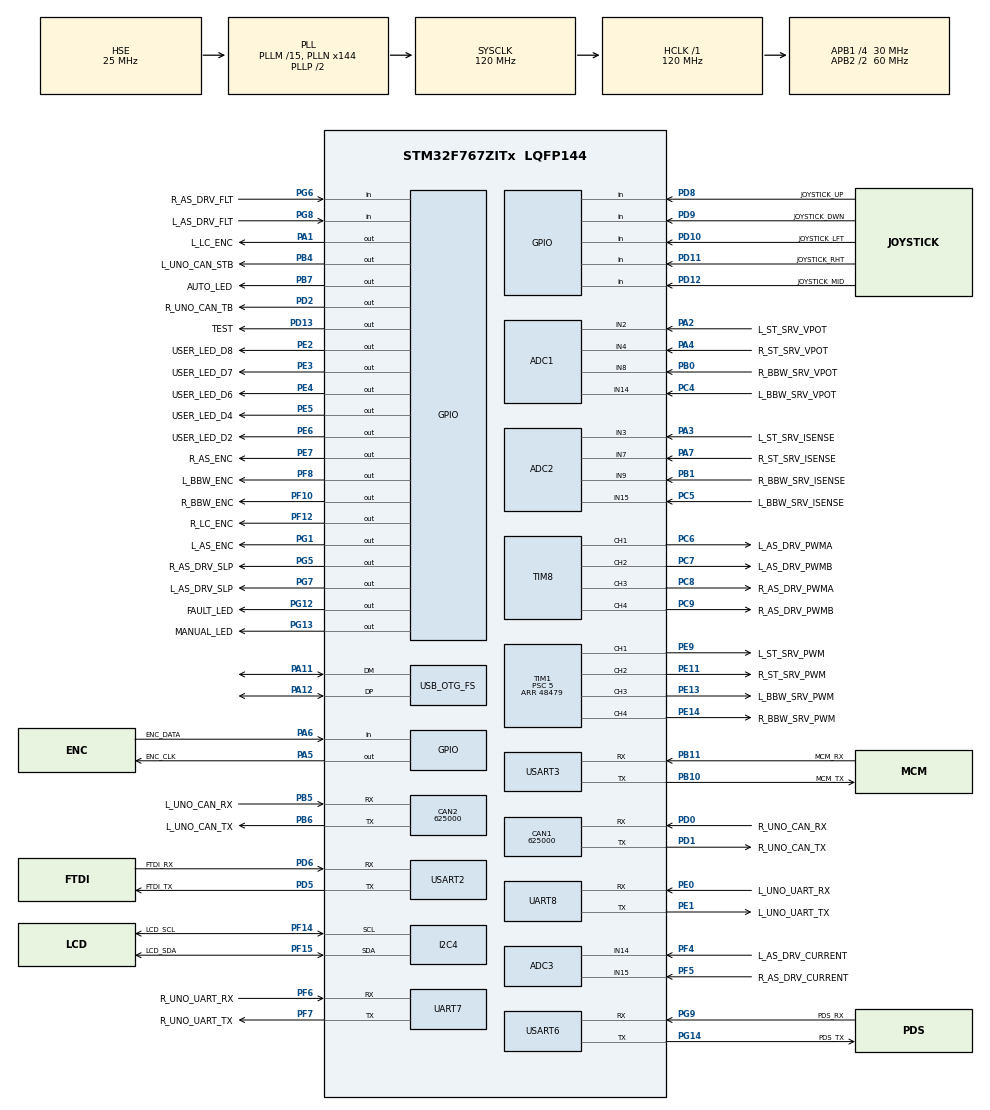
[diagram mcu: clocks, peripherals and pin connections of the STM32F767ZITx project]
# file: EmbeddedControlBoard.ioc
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ADC1.Channel-0\#ChannelRegularConversion=ADC_CHANNEL_2
ADC1.ClockPrescaler=ADC_CLOCK_SYNC_PCLK_DIV6
ADC1.ContinuousConvMode=DISABLE
ADC1.DMAContinuousRequests=DISABLE
ADC1.EOCSelection=ADC_EOC_SEQ_CONV
ADC1.NbrOfConversion=1
ADC1.NbrOfConversionFlag=1
ADC1.Rank-0\#ChannelRegularConversion=1
ADC1.SamplingTime-0\#ChannelRegularConversion=ADC_SAMPLETIME_28CYCLES
ADC1.ScanConvMode=ADC_SCAN_DISABLE
ADC1.master=1
ADC2.Channel-0\#ChannelRegularConversion=ADC_CHANNEL_3
ADC2.ClockPrescaler=ADC_CLOCK_SYNC_PCLK_DIV6
ADC2.ContinuousConvMode=DISABLE
ADC2.DMAContinuousRequests=DISABLE
ADC2.EOCSelection=ADC_EOC_SEQ_CONV
ADC2.NbrOfConversion=1
ADC2.NbrOfConversionFlag=1
ADC2.Rank-0\#ChannelRegularConversion=1
ADC2.SamplingTime-0\#ChannelRegularConversion=ADC_SAMPLETIME_84CYCLES
ADC2.ScanConvMode=ADC_SCAN_DISABLE
ADC3.Channel-0\#ChannelRegularConversion=ADC_CHANNEL_14
ADC3.ClockPrescaler=ADC_CLOCK_SYNC_PCLK_DIV6
ADC3.NbrOfConversionFlag=1
ADC3.Rank-0\#ChannelRegularConversion=1
ADC3.SamplingTime-0\#ChannelRegularConversion=ADC_SAMPLETIME_3CYCLES
CAN1.BS1=CAN_BS1_1TQ
CAN1.BS2=CAN_BS2_1TQ
CAN1.CalculateBaudRate=625000
CAN1.CalculateTimeBit=1600
CAN1.CalculateTimeQuantum=533.3333333333334
CAN2.BS1=CAN_BS1_1TQ
CAN2.BS2=CAN_BS2_1TQ
CAN2.CalculateBaudRate=625000
CAN2.CalculateTimeBit=1600
CAN2.CalculateTimeQuantum=533.3333333333334
CORTEX_M7.default_mode_Activation=1
Dma.ADC1.0.Direction=DMA_PERIPH_TO_MEMORY
Dma.ADC1.0.FIFOMode=DMA_FIFOMODE_DISABLE
Dma.ADC1.0.Instance=DMA2_Stream0
Dma.ADC1.0.MemDataAlignment=DMA_MDATAALIGN_WORD
Dma.ADC1.0.MemInc=DMA_MINC_ENABLE
Dma.ADC1.0.Mode=DMA_NORMAL
Dma.ADC1.0.PeriphDataAlignment=DMA_PDATAALIGN_WORD
Dma.ADC1.0.PeriphInc=DMA_PINC_DISABLE
Dma.ADC1.0.Priority=DMA_PRIORITY_MEDIUM
Dma.ADC2.1.Direction=DMA_PERIPH_TO_MEMORY
Dma.ADC2.1.FIFOMode=DMA_FIFOMODE_DISABLE
Dma.ADC2.1.Instance=DMA2_Stream2
Dma.ADC2.1.MemDataAlignment=DMA_MDATAALIGN_WORD
Dma.ADC2.1.MemInc=DMA_MINC_ENABLE
Dma.ADC2.1.Mode=DMA_NORMAL
Dma.ADC2.1.PeriphDataAlignment=DMA_PDATAALIGN_WORD
Dma.ADC2.1.PeriphInc=DMA_PINC_DISABLE
Dma.ADC2.1.Priority=DMA_PRIORITY_HIGH
Dma.Request0=ADC1
Dma.Request1=ADC2
I2C4.Timing=0x007074AF
Mcu.Family=STM32F7
Mcu.Name=STM32F767ZITx
Mcu.Package=LQFP144
NVIC.DMA2_Stream0_IRQn=true\:0\:0\:false\:false\:true\:false\:true\:true
NVIC.DMA2_Stream2_IRQn=true\:0\:0\:false\:false\:true\:false\:true\:true
NVIC.I2C4_ER_IRQn=true\:0\:0\:false\:false\:true\:true\:true\:true
NVIC.I2C4_EV_IRQn=true\:0\:0\:false\:false\:true\:true\:true\:true
NVIC.OTG_FS_IRQn=true\:0\:0\:false\:false\:true\:false\:true\:true
NVIC.PriorityGroup=NVIC_PRIORITYGROUP_4
NVIC.UART7_IRQn=true\:0\:0\:false\:false\:true\:true\:true\:true
NVIC.UART8_IRQn=true\:0\:0\:false\:false\:true\:true\:true\:true
NVIC.USART2_IRQn=true\:0\:0\:false\:false\:true\:true\:true\:true
NVIC.USART3_IRQn=true\:0\:0\:false\:false\:true\:true\:true\:true
NVIC.USART6_IRQn=true\:0\:0\:false\:false\:true\:true\:true\:true
PA1.GPIO_Label=L_LC_ENC
PA1.Signal=GPIO_Output
PA11.Mode=Device_Only
PA11.Signal=USB_OTG_FS_DM
PA12.Mode=Device_Only
PA12.Signal=USB_OTG_FS_DP
PA13.Mode=Serial_Wire
PA13.Signal=SYS_JTMS-SWDIO
PA14.Mode=Serial_Wire
PA14.Signal=SYS_JTCK-SWCLK
PA2.GPIO_Label=L_ST_SRV_VPOT
PA2.Signal=ADCx_IN2
PA3.GPIO_Label=L_ST_SRV_ISENSE
PA3.Signal=ADCx_IN3
PA4.GPIO_Label=R_ST_SRV_VPOT
PA4.Signal=ADCx_IN4
PA5.GPIO_Label=ENC_CLK
PA5.Signal=GPIO_Output
PA6.GPIO_Label=ENC_DATA
PA6.GPIO_PuPd=GPIO_NOPULL
PA6.Signal=GPIO_Input
PA7.GPIO_Label=R_ST_SRV_ISENSE
PA7.Signal=ADCx_IN7
PB0.GPIO_Label=R_BBW_SRV_VPOT
PB0.Signal=ADCx_IN8
PB1.GPIO_Label=R_BBW_SRV_ISENSE
PB1.Signal=ADCx_IN9
PB10.GPIO_Label=MCM_TX
PB10.Mode=Asynchronous
PB10.Signal=USART3_TX
PB11.GPIO_Label=MCM_RX
PB11.Mode=Asynchronous
PB11.Signal=USART3_RX
PB4.GPIO_Label=L_UNO_CAN_STB
PB4.Signal=GPIO_Output
PB5.GPIO_Label=L_UNO_CAN_RX
PB5.Mode=CAN_Activate
PB5.Signal=CAN2_RX
PB6.GPIO_Label=L_UNO_CAN_TX
PB6.Mode=CAN_Activate
PB6.Signal=CAN2_TX
PB7.GPIO_Label=AUTO_LED
PB7.Signal=GPIO_Output
PC4.GPIO_Label=L_BBW_SRV_VPOT
PC4.Signal=ADCx_IN14
PC5.GPIO_Label=L_BBW_SRV_ISENSE
PC5.Signal=ADCx_IN15
PC6.GPIO_Label=L_AS_DRV_PWMA
PC6.Signal=S_TIM8_CH1
PC7.GPIO_Label=L_AS_DRV_PWMB
PC7.Signal=S_TIM8_CH2
PC8.GPIO_Label=R_AS_DRV_PWMA
PC8.Signal=S_TIM8_CH3
PC9.GPIO_Label=R_AS_DRV_PWMB
PC9.Signal=S_TIM8_CH4
PD0.GPIO_Label=R_UNO_CAN_RX
PD0.Mode=CAN_Activate
PD0.Signal=CAN1_RX
PD1.GPIO_Label=R_UNO_CAN_TX
PD1.Mode=CAN_Activate
PD1.Signal=CAN1_TX
PD10.GPIO_Label=JOYSTICK_LFT
PD10.Signal=GPIO_Input
PD11.GPIO_Label=JOYSTICK_RHT
PD11.Signal=GPIO_Input
PD12.GPIO_Label=JOYSTICK_MID
PD12.Signal=GPIO_Input
PD13.GPIO_Label=TEST
PD13.Signal=GPIO_Output
PD2.GPIO_Label=R_UNO_CAN_TB
PD2.Signal=GPIO_Output
PD5.GPIO_Label=FTDI_TX
PD5.Mode=Asynchronous
PD5.Signal=USART2_TX
PD6.GPIO_Label=FTDI_RX
PD6.Mode=Asynchronous
PD6.Signal=USART2_RX
PD8.GPIO_Label=JOYSTICK_UP
PD8.Signal=GPIO_Input
PD9.GPIO_Label=JOYSTICK_DWN
PD9.Signal=GPIO_Input
PE0.GPIO_Label=L_UNO_UART_RX
PE0.Mode=Asynchronous
PE0.Signal=UART8_RX
PE1.GPIO_Label=L_UNO_UART_TX
PE1.Mode=Asynchronous
PE1.Signal=UART8_TX
PE11.GPIO_Label=R_ST_SRV_PWM
PE11.Signal=S_TIM1_CH2
PE13.GPIO_Label=L_BBW_SRV_PWM
PE13.Signal=S_TIM1_CH3
PE14.GPIO_Label=R_BBW_SRV_PWM
PE14.Signal=S_TIM1_CH4
PE2.GPIO_Label=USER_LED_D8
PE2.Signal=GPIO_Output
PE3.GPIO_Label=USER_LED_D7
PE3.Signal=GPIO_Output
PE4.GPIO_Label=USER_LED_D6
PE4.Signal=GPIO_Output
PE5.GPIO_Label=USER_LED_D4
PE5.Signal=GPIO_Output
PE6.GPIO_Label=USER_LED_D2
PE6.Signal=GPIO_Output
PE7.GPIO_Label=R_AS_ENC
PE7.Signal=GPIO_Output
PE9.GPIO_Label=L_ST_SRV_PWM
PE9.Signal=S_TIM1_CH1
PF10.GPIO_Label=R_BBW_ENC
PF10.Signal=GPIO_Output
PF12.GPIO_Label=R_LC_ENC
PF12.Signal=GPIO_Output
PF14.GPIO_Label=LCD_SCL
PF14.Mode=I2C
PF14.Signal=I2C4_SCL
PF15.GPIO_Label=LCD_SDA
PF15.Mode=I2C
PF15.Signal=I2C4_SDA
PF4.GPIO_Label=L_AS_DRV_CURRENT
PF4.Mode=IN14
PF4.Signal=ADC3_IN14
PF5.GPIO_Label=R_AS_DRV_CURRENT
PF5.Mode=IN15
PF5.Signal=ADC3_IN15
PF6.GPIO_Label=R_UNO_UART_RX
PF6.Mode=Asynchronous
PF6.Signal=UART7_RX
PF7.GPIO_Label=R_UNO_UART_TX
PF7.Mode=Asynchronous
PF7.Signal=UART7_TX
PF8.GPIO_Label=L_BBW_ENC
PF8.Signal=GPIO_Output
PG1.GPIO_Label=L_AS_ENC
PG1.Signal=GPIO_Output
PG12.GPIO_Label=FAULT_LED
PG12.Signal=GPIO_Output
PG13.GPIO_Label=MANUAL_LED
PG13.Signal=GPIO_Output
PG14.GPIO_Label=PDS_TX
PG14.Mode=Asynchronous
PG14.Signal=USART6_TX
PG5.GPIO_Label=R_AS_DRV_SLP
PG5.Signal=GPIO_Output
PG6.GPIO_Label=R_AS_DRV_FLT
PG6.Signal=GPIO_Input
PG7.GPIO_Label=L_AS_DRV_SLP
PG7.Signal=GPIO_Output
PG8.GPIO_Label=L_AS_DRV_FLT
PG8.Signal=GPIO_Input
PG9.GPIO_Label=PDS_RX
PG9.Mode=Asynchronous
PG9.Signal=USART6_RX
PH0/OSC_IN.Mode=HSE-External-Oscillator
PH0/OSC_IN.Signal=RCC_OSC_IN
PH1/OSC_OUT.Mode=HSE-External-Oscillator
PH1/OSC_OUT.Signal=RCC_OSC_OUT
ProjectManager.HeapSize=0x200
ProjectManager.StackSize=0x400
ProjectManager.TargetToolchain=STM32CubeIDE
RCC.AHBFreq_Value=120000000
RCC.APB1CLKDivider=RCC_HCLK_DIV4
RCC.APB1Freq_Value=30000000
RCC.APB1TimFreq_Value=60000000
RCC.APB2CLKDivider=RCC_HCLK_DIV2
RCC.APB2Freq_Value=60000000
RCC.APB2TimFreq_Value=120000000
RCC.CortexFreq_Value=120000000
RCC.HCLKFreq_Value=120000000
RCC.HSE_VALUE=25000000
RCC.HSI_VALUE=16000000
RCC.LSE_VALUE=32768
RCC.PLLM=15
RCC.PLLN=144
RCC.PLLQ=5
RCC.SYSCLKFreq_VALUE=120000000
RCC.SYSCLKSource=RCC_SYSCLKSOURCE_PLLCLK
RCC.USBFreq_Value=48000000
RCC.VCOOutputFreq_Value=240000000
SH.ADCx_IN14.0=ADC1_IN14,IN14
SH.ADCx_IN15.0=ADC2_IN15,IN15
SH.ADCx_IN2.0=ADC1_IN2,IN2
SH.ADCx_IN3.0=ADC2_IN3,IN3
SH.ADCx_IN4.0=ADC1_IN4,IN4
SH.ADCx_IN7.0=ADC2_IN7,IN7
SH.ADCx_IN8.0=ADC1_IN8,IN8
SH.ADCx_IN9.0=ADC2_IN9,IN9
SH.S_TIM1_CH1.0=TIM1_CH1,PWM Generation1 CH1
SH.S_TIM1_CH2.0=TIM1_CH2,PWM Generation2 CH2
SH.S_TIM1_CH3.0=TIM1_CH3,PWM Generation3 CH3
SH.S_TIM1_CH4.0=TIM1_CH4,PWM Generation4 CH4
SH.S_TIM8_CH1.0=TIM8_CH1,PWM Generation1 CH1
SH.S_TIM8_CH2.0=TIM8_CH2,PWM Generation2 CH2
SH.S_TIM8_CH3.0=TIM8_CH3,PWM Generation3 CH3
SH.S_TIM8_CH4.0=TIM8_CH4,PWM Generation4 CH4
TIM1.Channel-PWM\ Generation1\ CH1=TIM_CHANNEL_1
TIM1.Channel-PWM\ Generation2\ CH2=TIM_CHANNEL_2
TIM1.Channel-PWM\ Generation3\ CH3=TIM_CHANNEL_3
TIM1.Channel-PWM\ Generation4\ CH4=TIM_CHANNEL_4
TIM1.Period=48479
TIM1.Prescaler=5
TIM8.Channel-PWM\ Generation1\ CH1=TIM_CHANNEL_1
TIM8.Channel-PWM\ Generation2\ CH2=TIM_CHANNEL_2
TIM8.Channel-PWM\ Generation3\ CH3=TIM_CHANNEL_3
TIM8.Channel-PWM\ Generation4\ CH4=TIM_CHANNEL_4
USART2.VirtualMode-Asynchronous=VM_ASYNC
USART3.VirtualMode-Asynchronous=VM_ASYNC
USART6.VirtualMode-Asynchronous=VM_ASYNC
USB_DEVICE.CLASS_NAME_FS=CDC
USB_DEVICE.VirtualMode-CDC_FS=Cdc
USB_DEVICE.VirtualModeFS=Cdc_FS
USB_OTG_FS.VirtualMode=Device_Only
VP_CRC_VS_CRC.Mode=CRC_Activate
VP_USB_DEVICE_VS_USB_DEVICE_CDC_FS.Mode=CDC_FS
board=custom

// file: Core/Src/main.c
/* USER CODE BEGIN Header */
/**
  ******************************************************************************
  * @file           : main.c
  * @brief          : Main program body
  ******************************************************************************
  * @attention
  *
  * Copyright (c) 2025 STMicroelectronics.
  * All rights reserved.
  *
  * This software is licensed under terms that can be found in the LICENSE file
  * in the root directory of this software component.
  * If no LICENSE file comes with this software, it is provided AS-IS.
  *
  ******************************************************************************
  */
/* USER CODE END Header */
#include "main.h"
#include "usb_device.h"

/* USER CODE BEGIN Includes */
#include <stdio.h>
#include <stdlib.h>
#include <string.h>
#include <stdarg.h>

#include "encoder.h"
#include "servo.h"
#include "usbd_cdc_if.h"
#include "SOLOMotorControllersUart.h"
/* USER CODE END Includes */

ADC_HandleTypeDef hadc1;
ADC_HandleTypeDef hadc2;
ADC_HandleTypeDef hadc3;
DMA_HandleTypeDef hdma_adc1;
DMA_HandleTypeDef hdma_adc2;

CAN_HandleTypeDef hcan1;
CAN_HandleTypeDef hcan2;

CRC_HandleTypeDef hcrc;

I2C_HandleTypeDef hi2c4;

TIM_HandleTypeDef htim1;
TIM_HandleTypeDef htim8;

UART_HandleTypeDef huart7;
UART_HandleTypeDef huart8;
UART_HandleTypeDef huart2;
UART_HandleTypeDef huart3;
UART_HandleTypeDef huart6;

/* USER CODE BEGIN PV */
SOLOMotorControllersUart l_uno;
SOLOMotorControllersUart r_uno;

Encoder l_bbw_enc = { .cs_port = L_BBW_ENC_GPIO_Port,
					.cs_pin = L_BBW_ENC_Pin};

Encoder r_bbw_enc = { .cs_port = R_BBW_ENC_GPIO_Port,
					.cs_pin = R_BBW_ENC_Pin };

Encoder l_lc_enc = { .cs_port = L_LC_ENC_GPIO_Port,
				   .cs_pin = L_LC_ENC_Pin };

Encoder r_lc_enc = { .cs_port = R_LC_ENC_GPIO_Port,
				   .cs_pin = R_LC_ENC_Pin };

Encoder l_as_enc = { .cs_port = L_AS_ENC_GPIO_Port,
				   .cs_pin = L_AS_ENC_Pin };

Encoder r_as_enc = { .cs_port = R_AS_ENC_GPIO_Port,
				   .cs_pin = R_AS_ENC_Pin };

Servo l_st_srv = { .timer = &htim1,
                   .pwm_channel = TIM_CHANNEL_1,
                   .vpot_adc = &hadc1,
                   .vpot_channel = ADC_CHANNEL_2,
                   .isense_adc = &hadc2,
                   .isense_channel = ADC_CHANNEL_3,
                   .vpot = 0,
                   .isense = 0 };

Servo r_st_srv = { .timer = &htim1,
                   .pwm_channel = TIM_CHANNEL_2,
                   .vpot_adc = &hadc1,
                   .vpot_channel = ADC_CHANNEL_4,
                   .isense_adc = &hadc2,
                   .isense_channel = ADC_CHANNEL_7,
                   .vpot = 0,
                   .isense = 0 };

Servo l_bbw_srv = { .timer = &htim1,
                    .pwm_channel = TIM_CHANNEL_3,
                    .vpot_adc = &hadc1,
                    .vpot_channel = ADC_CHANNEL_14,
                    .isense_adc = &hadc2,
                    .isense_channel = ADC_CHANNEL_15,
	                .vpot = 0,
	                .isense = 0 };

Servo r_bbw_srv = { .timer = &htim1,
		            .pwm_channel = TIM_CHANNEL_4,
                    .vpot_adc = &hadc1,
                    .vpot_channel = ADC_CHANNEL_8,
                    .isense_adc = &hadc2,
                    .isense_channel = ADC_CHANNEL_9,
	                .vpot = 0,
	                .isense = 0 };

/* USER CODE END PV */

void SystemClock_Config(void);
static void MPU_Config(void);
static void MX_GPIO_Init(void);
static void MX_DMA_Init(void);
static void MX_CAN1_Init(void);
static void MX_CAN2_Init(void);
static void MX_ADC1_Init(void);
static void MX_ADC2_Init(void);
static void MX_ADC3_Init(void);
static void MX_CRC_Init(void);
static void MX_I2C4_Init(void);
static void MX_TIM8_Init(void);
static void MX_UART7_Init(void);
static void MX_UART8_Init(void);
static void MX_USART2_UART_Init(void);
static void MX_USART3_UART_Init(void);
static void MX_USART6_UART_Init(void);
static void MX_TIM1_Init(void);

/* USER CODE BEGIN 0 */
/*
 * @brief printf to USART2 (FTDI) or USB
 * @param format printf string format
 */
void printmsg(char *format,...)
{
    char str[100];

    // Extract the the argument list using VA API in stdarg.h
    va_list args;
    va_start(args, format);
    vsprintf(str, format,args);

    // Transmit via USART2
    HAL_UART_Transmit(&huart2,(uint8_t *)str, strlen(str),HAL_MAX_DELAY);

    // Transmit via USB
    CDC_Transmit_FS((uint8_t *)str, strlen(str));

    va_end(args);
}

void encoder_demo()
{
  printmsg("===================== ENCODERS =====================\r\n");
  if(read_encoder(&l_bbw_enc) == ENCODER_ERR_OK) printmsg("L_BBW_ENC = 0x%X\n\r",l_bbw_enc.position);
  else printmsg("ENCODER ERROR\r\n");
  if(read_encoder(&r_bbw_enc) == ENCODER_ERR_OK) printmsg("R_BBW_ENC = 0x%X\n\r",r_bbw_enc.position);
  else printmsg("ENCODER ERROR\r\n");
  if(read_encoder(&l_lc_enc) == ENCODER_ERR_OK) printmsg("L_LC_ENC = 0x%X\n\r",l_lc_enc.position);
  else printmsg("ENCODER ERROR\r\n");
  if(read_encoder(&r_lc_enc) == ENCODER_ERR_OK) printmsg("R_LC_ENC = 0x%X\n\r",r_lc_enc.position);
  else printmsg("ENCODER ERROR\r\n");
  if(read_encoder(&l_as_enc) == ENCODER_ERR_OK) printmsg("L_AS_ENC = 0x%X\n\r",l_as_enc.position);
  else printmsg("ENCODER ERROR\r\n");
  if(read_encoder(&r_as_enc) == ENCODER_ERR_OK) printmsg("R_AS_ENC = 0x%X\n\r",r_as_enc.position);
  else printmsg("ENCODER ERROR\r\n");
  printmsg("====================================================\r\n\n");
}

void servo_demo(uint8_t max_duty)
{
   printmsg ("Rotating Servo....\r\n");

   printmsg("Duty Cycle Input = %d%% \r\n", max_duty);

   // run_servo(&l_st_srv,max_duty);
   run_servo(&r_st_srv,max_duty);
   // run_servo(&l_bbw_srv,max_duty);
   // run_servo(&r_bbw_srv,max_duty);

   // debug
   printmsg("============= SERVO'S POTENTIOMETER ================\r\n");
   printmsg("L_ST_SRV = %d\n\r",l_st_srv.vpot);
   printmsg("R_ST_SRV = %d\n\r",r_st_srv.vpot);
   printmsg("L_BBW_SRV = %d\n\r",l_bbw_srv.vpot);
   printmsg("R_BBW_SRV = %d\n\r",r_bbw_srv.vpot);
   printmsg("====================================================\r\n\n");

   printmsg("============= SERVO'S CURRENT ======================\r\n");
   printmsg("L_ST_SRV = %d\n\r",l_st_srv.isense);
   printmsg("R_ST_SRV = %d\n\r",r_st_srv.isense);
   printmsg("L_BBW_SRV = %d\n\r",l_bbw_srv.isense);
   printmsg("R_BBW_SRV = %d\n\r",r_bbw_srv.isense);
   printmsg("====================================================\r\n\n");

   HAL_Delay(500);

   printmsg ("Rotating Servo....\r\n");

   printmsg("Duty Cycle Input = %d%% \r\n", 0);

   // run_servo(&l_st_srv,0);
   run_servo(&r_st_srv,0);
   // run_servo(&l_bbw_srv,0);
   // run_servo(&r_bbw_srv,0);

   // debug
   printmsg("============= SERVO'S POTENTIOMETER ================\r\n");
   printmsg("L_ST_SRV = %d\n\r",l_st_srv.vpot);
   printmsg("R_ST_SRV = %d\n\r",r_st_srv.vpot);
   printmsg("L_BBW_SRV = %d\n\r",l_bbw_srv.vpot);
   printmsg("R_BBW_SRV = %d\n\r",r_bbw_srv.vpot);
   printmsg("====================================================\r\n\n");

   printmsg("============= SERVO'S CURRENT ======================\r\n");
   printmsg("L_ST_SRV = %d\n\r",l_st_srv.isense);
   printmsg("R_ST_SRV = %d\n\r",r_st_srv.isense);
   printmsg("L_BBW_SRV = %d\n\r",l_bbw_srv.isense);
   printmsg("R_BBW_SRV = %d\n\r",r_bbw_srv.isense);
   printmsg("====================================================\r\n\n");

}

void solo_uno_demo()
{
  printmsg("=================== BLDC DRIVER ====================\r\n");

  // Set control mode to speed mode
  SetControlMode(&l_uno, SPEED_MODE);

  // set the Direction on C.C.W.
  SetMotorDirection(&l_uno, COUNTERCLOCKWISE);

  // set an arbitrary Positive speed reference[RPM]
  SetSpeedReference(&l_uno, 1500);

  // wait till motor reaches to the reference
  HAL_Delay(3000);
  long actualMotorSpeed = GetSpeedFeedback(&l_uno);
  printmsg("\n Measured Speed[RPM]: %ld\r\n", actualMotorSpeed);

  float actualMotorTorque = GetQuadratureCurrentIqFeedback(&l_uno);
  char actualMotorTorqueStr[100];
  ConvertFloatToString(actualMotorTorqueStr,actualMotorTorque,4);
  printmsg("\n Measured Iq/Torque[A]: %s\r\n", actualMotorTorqueStr);
  HAL_Delay(3000);

  // set the Direction on C.W.
  SetMotorDirection(&l_uno, CLOCKWISE);

  // set an arbitrary Positive speed reference[RPM]
  SetSpeedReference(&l_uno, 900);

  // wait till motor reaches to the reference
  HAL_Delay(3000);
  actualMotorSpeed = GetSpeedFeedback(&l_uno);
  printmsg("\n Measured Speed[RPM]: %ld\r\n", actualMotorSpeed);

  actualMotorTorque = GetQuadratureCurrentIqFeedback(&l_uno);
  memset(actualMotorTorqueStr,0,sizeof(actualMotorTorqueStr));
  ConvertFloatToString(actualMotorTorqueStr,actualMotorTorque,4);
  printmsg("\n Measured Iq/Torque[A]: %s\r\n", actualMotorTorqueStr);
  HAL_Delay(3000);

  // set an arbitrary Positive speed reference[RPM]
  SetSpeedReference(&l_uno, 0);
  HAL_Delay(3000);

  printmsg("====================================================\r\n\n");
}

void demo_menu()
{
	printmsg("================= MENU ===================\r\n");
    printmsg("           (E)ncoder Demo\r\n");
    printmsg("           (S)ervo Demo\r\n");
    printmsg("           (B)LDC Driver Demo\r\n");
    printmsg("           (Q)uit / Back to Menu\r\n");
	printmsg("==========================================\r\n\n");
}

/* USER CODE END 0 */

int main(void)
{

  /* MPU Configuration--------------------------------------------------------*/
  MPU_Config();

  /* MCU Configuration--------------------------------------------------------*/

  /* Reset of all peripherals, Initializes the Flash interface and the Systick. */
  HAL_Init();

  /* Configure the system clock */
  SystemClock_Config();

  /* Initialize all configured peripherals */
  MX_GPIO_Init();
  MX_DMA_Init();
  MX_CAN1_Init();
  MX_CAN2_Init();
  MX_ADC1_Init();
  MX_ADC2_Init();
  MX_ADC3_Init();
  MX_CRC_Init();
  MX_I2C4_Init();
  MX_TIM8_Init();
  MX_UART7_Init();
  MX_UART8_Init();
  MX_USART2_UART_Init();
  MX_USART3_UART_Init();
  MX_USART6_UART_Init();
  MX_TIM1_Init();
  MX_USB_DEVICE_Init();
  /* USER CODE BEGIN 2 */

  // init solo uno controllers
  SOLOMotorControllersUart_Init(&r_uno, 0, &huart7, 50, 5); // default values from Arduino code
  SOLOMotorControllersUart_Init(&l_uno, 0, &huart8, 50, 5);

  uint8_t cmd = 0; // variable to store cmd read from UART
  demo_menu(); // print menu

  /* USER CODE END 2 */

  /* Infinite loop */
  while (1)
  {

    /* USER CODE BEGIN 3 */

	// Read new command, busy loop implementation, not interrupt
	memset(&cmd, 0, sizeof(cmd));
	if(HAL_UART_Receive(&huart2, &cmd, 1, 10) == HAL_OK)
	{
	switch (cmd)
	{
	  case 'E':
	  case 'e':
		  encoder_demo();
		  HAL_Delay(500);
		break;

	  case 'S':
	  case 's':
		  servo_demo(100);
		  HAL_Delay(500);
		break;

	  case 'B':
	  case 'b':
		  solo_uno_demo();
		  HAL_Delay(500);
		break;

	  case 'Q':
	  case 'q':
		  demo_menu();
		break;

	  default:
		  printmsg("Invalid input. Try again.\r\n");
		break;
	}
	}
  }
  /* USER CODE END 3 */
}

void SystemClock_Config(void)
{
  RCC_OscInitTypeDef RCC_OscInitStruct = {0};
  RCC_ClkInitTypeDef RCC_ClkInitStruct = {0};

  /** Configure the main internal regulator output voltage
  */
  __HAL_RCC_PWR_CLK_ENABLE();
  __HAL_PWR_VOLTAGESCALING_CONFIG(PWR_REGULATOR_VOLTAGE_SCALE3);

  /** Initializes the RCC Oscillators according to the specified parameters
  * in the RCC_OscInitTypeDef structure.
  */
  RCC_OscInitStruct.OscillatorType = RCC_OSCILLATORTYPE_HSE;
  RCC_OscInitStruct.HSEState = RCC_HSE_ON;
  RCC_OscInitStruct.PLL.PLLState = RCC_PLL_ON;
  RCC_OscInitStruct.PLL.PLLSource = RCC_PLLSOURCE_HSE;
  RCC_OscInitStruct.PLL.PLLM = 15;
  RCC_OscInitStruct.PLL.PLLN = 144;
  RCC_OscInitStruct.PLL.PLLP = RCC_PLLP_DIV2;
  RCC_OscInitStruct.PLL.PLLQ = 5;
  RCC_OscInitStruct.PLL.PLLR = 2;
  if (HAL_RCC_OscConfig(&RCC_OscInitStruct) != HAL_OK)
  {
    Error_Handler();
  }

  /** Initializes the CPU, AHB and APB buses clocks
  */
  RCC_ClkInitStruct.ClockType = RCC_CLOCKTYPE_HCLK|RCC_CLOCKTYPE_SYSCLK
                              |RCC_CLOCKTYPE_PCLK1|RCC_CLOCKTYPE_PCLK2;
  RCC_ClkInitStruct.SYSCLKSource = RCC_SYSCLKSOURCE_PLLCLK;
  RCC_ClkInitStruct.AHBCLKDivider = RCC_SYSCLK_DIV1;
  RCC_ClkInitStruct.APB1CLKDivider = RCC_HCLK_DIV4;
  RCC_ClkInitStruct.APB2CLKDivider = RCC_HCLK_DIV2;

  if (HAL_RCC_ClockConfig(&RCC_ClkInitStruct, FLASH_LATENCY_3) != HAL_OK)
  {
    Error_Handler();
  }
}

static void MX_ADC1_Init(void)
{

  ADC_ChannelConfTypeDef sConfig = {0};

  /** Configure the global features of the ADC (Clock, Resolution, Data Alignment and number of conversion)
  */
  hadc1.Instance = ADC1;
  hadc1.Init.ClockPrescaler = ADC_CLOCK_SYNC_PCLK_DIV6;
  hadc1.Init.Resolution = ADC_RESOLUTION_12B;
  hadc1.Init.ScanConvMode = ADC_SCAN_DISABLE;
  hadc1.Init.ContinuousConvMode = DISABLE;
  hadc1.Init.DiscontinuousConvMode = DISABLE;
  hadc1.Init.ExternalTrigConvEdge = ADC_EXTERNALTRIGCONVEDGE_NONE;
  hadc1.Init.ExternalTrigConv = ADC_SOFTWARE_START;
  hadc1.Init.DataAlign = ADC_DATAALIGN_RIGHT;
  hadc1.Init.NbrOfConversion = 1;
  hadc1.Init.DMAContinuousRequests = DISABLE;
  hadc1.Init.EOCSelection = ADC_EOC_SEQ_CONV;
  if (HAL_ADC_Init(&hadc1) != HAL_OK)
  {
    Error_Handler();
  }

  /** Configure for the selected ADC regular channel its corresponding rank in the sequencer and its sample time.
  */
  sConfig.Channel = ADC_CHANNEL_2;
  sConfig.Rank = ADC_REGULAR_RANK_1;
  sConfig.SamplingTime = ADC_SAMPLETIME_28CYCLES;
  if (HAL_ADC_ConfigChannel(&hadc1, &sConfig) != HAL_OK)
  {
    Error_Handler();
  }

}

static void MX_ADC2_Init(void)
{

  ADC_ChannelConfTypeDef sConfig = {0};

  /** Configure the global features of the ADC (Clock, Resolution, Data Alignment and number of conversion)
  */
  hadc2.Instance = ADC2;
  hadc2.Init.ClockPrescaler = ADC_CLOCK_SYNC_PCLK_DIV6;
  hadc2.Init.Resolution = ADC_RESOLUTION_12B;
  hadc2.Init.ScanConvMode = ADC_SCAN_DISABLE;
  hadc2.Init.ContinuousConvMode = DISABLE;
  hadc2.Init.DiscontinuousConvMode = DISABLE;
  hadc2.Init.ExternalTrigConvEdge = ADC_EXTERNALTRIGCONVEDGE_NONE;
  hadc2.Init.ExternalTrigConv = ADC_SOFTWARE_START;
  hadc2.Init.DataAlign = ADC_DATAALIGN_RIGHT;
  hadc2.Init.NbrOfConversion = 1;
  hadc2.Init.DMAContinuousRequests = DISABLE;
  hadc2.Init.EOCSelection = ADC_EOC_SEQ_CONV;
  if (HAL_ADC_Init(&hadc2) != HAL_OK)
  {
    Error_Handler();
  }

  /** Configure for the selected ADC regular channel its corresponding rank in the sequencer and its sample time.
  */
  sConfig.Channel = ADC_CHANNEL_3;
  sConfig.Rank = ADC_REGULAR_RANK_1;
  sConfig.SamplingTime = ADC_SAMPLETIME_84CYCLES;
  if (HAL_ADC_ConfigChannel(&hadc2, &sConfig) != HAL_OK)
  {
    Error_Handler();
  }

}

static void MX_ADC3_Init(void)
{

  ADC_ChannelConfTypeDef sConfig = {0};

  /** Configure the global features of the ADC (Clock, Resolution, Data Alignment and number of conversion)
  */
  hadc3.Instance = ADC3;
  hadc3.Init.ClockPrescaler = ADC_CLOCK_SYNC_PCLK_DIV6;
  hadc3.Init.Resolution = ADC_RESOLUTION_12B;
  hadc3.Init.ScanConvMode = ADC_SCAN_DISABLE;
  hadc3.Init.ContinuousConvMode = DISABLE;
  hadc3.Init.DiscontinuousConvMode = DISABLE;
  hadc3.Init.ExternalTrigConvEdge = ADC_EXTERNALTRIGCONVEDGE_NONE;
  hadc3.Init.ExternalTrigConv = ADC_SOFTWARE_START;
  hadc3.Init.DataAlign = ADC_DATAALIGN_RIGHT;
  hadc3.Init.NbrOfConversion = 1;
  hadc3.Init.DMAContinuousRequests = DISABLE;
  hadc3.Init.EOCSelection = ADC_EOC_SINGLE_CONV;
  if (HAL_ADC_Init(&hadc3) != HAL_OK)
  {
    Error_Handler();
  }

  /** Configure for the selected ADC regular channel its corresponding rank in the sequencer and its sample time.
  */
  sConfig.Channel = ADC_CHANNEL_14;
  sConfig.Rank = ADC_REGULAR_RANK_1;
  sConfig.SamplingTime = ADC_SAMPLETIME_3CYCLES;
  if (HAL_ADC_ConfigChannel(&hadc3, &sConfig) != HAL_OK)
  {
    Error_Handler();
  }

}

static void MX_CAN1_Init(void)
{

  hcan1.Instance = CAN1;
  hcan1.Init.Prescaler = 16;
  hcan1.Init.Mode = CAN_MODE_NORMAL;
  hcan1.Init.SyncJumpWidth = CAN_SJW_1TQ;
  hcan1.Init.TimeSeg1 = CAN_BS1_1TQ;
  hcan1.Init.TimeSeg2 = CAN_BS2_1TQ;
  hcan1.Init.TimeTriggeredMode = DISABLE;
  hcan1.Init.AutoBusOff = DISABLE;
  hcan1.Init.AutoWakeUp = DISABLE;
  hcan1.Init.AutoRetransmission = DISABLE;
  hcan1.Init.ReceiveFifoLocked = DISABLE;
  hcan1.Init.TransmitFifoPriority = DISABLE;
  if (HAL_CAN_Init(&hcan1) != HAL_OK)
  {
    Error_Handler();
  }

}

static void MX_CAN2_Init(void)
{

  hcan2.Instance = CAN2;
  hcan2.Init.Prescaler = 16;
  hcan2.Init.Mode = CAN_MODE_NORMAL;
  hcan2.Init.SyncJumpWidth = CAN_SJW_1TQ;
  hcan2.Init.TimeSeg1 = CAN_BS1_1TQ;
  hcan2.Init.TimeSeg2 = CAN_BS2_1TQ;
  hcan2.Init.TimeTriggeredMode = DISABLE;
  hcan2.Init.AutoBusOff = DISABLE;
  hcan2.Init.AutoWakeUp = DISABLE;
  hcan2.Init.AutoRetransmission = DISABLE;
  hcan2.Init.ReceiveFifoLocked = DISABLE;
  hcan2.Init.TransmitFifoPriority = DISABLE;
  if (HAL_CAN_Init(&hcan2) != HAL_OK)
  {
    Error_Handler();
  }

}

static void MX_CRC_Init(void)
{

  hcrc.Instance = CRC;
  hcrc.Init.DefaultPolynomialUse = DEFAULT_POLYNOMIAL_ENABLE;
  hcrc.Init.DefaultInitValueUse = DEFAULT_INIT_VALUE_ENABLE;
  hcrc.Init.InputDataInversionMode = CRC_INPUTDATA_INVERSION_NONE;
  hcrc.Init.OutputDataInversionMode = CRC_OUTPUTDATA_INVERSION_DISABLE;
  hcrc.InputDataFormat = CRC_INPUTDATA_FORMAT_BYTES;
  if (HAL_CRC_Init(&hcrc) != HAL_OK)
  {
    Error_Handler();
  }

}

static void MX_I2C4_Init(void)
{

  hi2c4.Instance = I2C4;
  hi2c4.Init.Timing = 0x007074AF;
  hi2c4.Init.OwnAddress1 = 0;
  hi2c4.Init.AddressingMode = I2C_ADDRESSINGMODE_7BIT;
  hi2c4.Init.DualAddressMode = I2C_DUALADDRESS_DISABLE;
  hi2c4.Init.OwnAddress2 = 0;
  hi2c4.Init.OwnAddress2Masks = I2C_OA2_NOMASK;
  hi2c4.Init.GeneralCallMode = I2C_GENERALCALL_DISABLE;
  hi2c4.Init.NoStretchMode = I2C_NOSTRETCH_DISABLE;
  if (HAL_I2C_Init(&hi2c4) != HAL_OK)
  {
    Error_Handler();
  }

  /** Configure Analogue filter
  */
  if (HAL_I2CEx_ConfigAnalogFilter(&hi2c4, I2C_ANALOGFILTER_ENABLE) != HAL_OK)
  {
    Error_Handler();
  }

  /** Configure Digital filter
  */
  if (HAL_I2CEx_ConfigDigitalFilter(&hi2c4, 0) != HAL_OK)
  {
    Error_Handler();
  }

}

static void MX_TIM1_Init(void)
{

  TIM_MasterConfigTypeDef sMasterConfig = {0};
  TIM_OC_InitTypeDef sConfigOC = {0};
  TIM_BreakDeadTimeConfigTypeDef sBreakDeadTimeConfig = {0};

  htim1.Instance = TIM1;
  htim1.Init.Prescaler = 5;
  htim1.Init.CounterMode = TIM_COUNTERMODE_UP;
  htim1.Init.Period = 48479;
  htim1.Init.ClockDivision = TIM_CLOCKDIVISION_DIV1;
  htim1.Init.RepetitionCounter = 0;
  htim1.Init.AutoReloadPreload = TIM_AUTORELOAD_PRELOAD_DISABLE;
  if (HAL_TIM_PWM_Init(&htim1) != HAL_OK)
  {
    Error_Handler();
  }
  sMasterConfig.MasterOutputTrigger = TIM_TRGO_RESET;
  sMasterConfig.MasterOutputTrigger2 = TIM_TRGO2_RESET;
  sMasterConfig.MasterSlaveMode = TIM_MASTERSLAVEMODE_DISABLE;
  if (HAL_TIMEx_MasterConfigSynchronization(&htim1, &sMasterConfig) != HAL_OK)
  {
    Error_Handler();
  }
  sConfigOC.OCMode = TIM_OCMODE_PWM1;
  sConfigOC.Pulse = 0;
  sConfigOC.OCPolarity = TIM_OCPOLARITY_HIGH;
  sConfigOC.OCNPolarity = TIM_OCNPOLARITY_HIGH;
  sConfigOC.OCFastMode = TIM_OCFAST_DISABLE;
  sConfigOC.OCIdleState = TIM_OCIDLESTATE_RESET;
  sConfigOC.OCNIdleState = TIM_OCNIDLESTATE_RESET;
  if (HAL_TIM_PWM_ConfigChannel(&htim1, &sConfigOC, TIM_CHANNEL_1) != HAL_OK)
  {
    Error_Handler();
  }
  if (HAL_TIM_PWM_ConfigChannel(&htim1, &sConfigOC, TIM_CHANNEL_2) != HAL_OK)
  {
    Error_Handler();
  }
  if (HAL_TIM_PWM_ConfigChannel(&htim1, &sConfigOC, TIM_CHANNEL_3) != HAL_OK)
  {
    Error_Handler();
  }
  if (HAL_TIM_PWM_ConfigChannel(&htim1, &sConfigOC, TIM_CHANNEL_4) != HAL_OK)
  {
    Error_Handler();
  }
  sBreakDeadTimeConfig.OffStateRunMode = TIM_OSSR_DISABLE;
  sBreakDeadTimeConfig.OffStateIDLEMode = TIM_OSSI_DISABLE;
  sBreakDeadTimeConfig.LockLevel = TIM_LOCKLEVEL_OFF;
  sBreakDeadTimeConfig.DeadTime = 0;
  sBreakDeadTimeConfig.BreakState = TIM_BREAK_DISABLE;
  sBreakDeadTimeConfig.BreakPolarity = TIM_BREAKPOLARITY_HIGH;
  sBreakDeadTimeConfig.BreakFilter = 0;
  sBreakDeadTimeConfig.Break2State = TIM_BREAK2_DISABLE;
  sBreakDeadTimeConfig.Break2Polarity = TIM_BREAK2POLARITY_HIGH;
  sBreakDeadTimeConfig.Break2Filter = 0;
  sBreakDeadTimeConfig.AutomaticOutput = TIM_AUTOMATICOUTPUT_DISABLE;
  if (HAL_TIMEx_ConfigBreakDeadTime(&htim1, &sBreakDeadTimeConfig) != HAL_OK)
  {
    Error_Handler();
  }
  HAL_TIM_MspPostInit(&htim1);

}

static void MX_TIM8_Init(void)
{

  TIM_MasterConfigTypeDef sMasterConfig = {0};
  TIM_OC_InitTypeDef sConfigOC = {0};
  TIM_BreakDeadTimeConfigTypeDef sBreakDeadTimeConfig = {0};

  htim8.Instance = TIM8;
  htim8.Init.Prescaler = 0;
  htim8.Init.CounterMode = TIM_COUNTERMODE_UP;
  htim8.Init.Period = 65535;
  htim8.Init.ClockDivision = TIM_CLOCKDIVISION_DIV1;
  htim8.Init.RepetitionCounter = 0;
  htim8.Init.AutoReloadPreload = TIM_AUTORELOAD_PRELOAD_DISABLE;
  if (HAL_TIM_PWM_Init(&htim8) != HAL_OK)
  {
    Error_Handler();
  }
  sMasterConfig.MasterOutputTrigger = TIM_TRGO_RESET;
  sMasterConfig.MasterOutputTrigger2 = TIM_TRGO2_RESET;
  sMasterConfig.MasterSlaveMode = TIM_MASTERSLAVEMODE_DISABLE;
  if (HAL_TIMEx_MasterConfigSynchronization(&htim8, &sMasterConfig) != HAL_OK)
  {
    Error_Handler();
  }
  sConfigOC.OCMode = TIM_OCMODE_PWM1;
  sConfigOC.Pulse = 0;
  sConfigOC.OCPolarity = TIM_OCPOLARITY_HIGH;
  sConfigOC.OCNPolarity = TIM_OCNPOLARITY_HIGH;
  sConfigOC.OCFastMode = TIM_OCFAST_DISABLE;
  sConfigOC.OCIdleState = TIM_OCIDLESTATE_RESET;
  sConfigOC.OCNIdleState = TIM_OCNIDLESTATE_RESET;
  if (HAL_TIM_PWM_ConfigChannel(&htim8, &sConfigOC, TIM_CHANNEL_1) != HAL_OK)
  {
    Error_Handler();
  }
  if (HAL_TIM_PWM_ConfigChannel(&htim8, &sConfigOC, TIM_CHANNEL_2) != HAL_OK)
  {
    Error_Handler();
  }
  if (HAL_TIM_PWM_ConfigChannel(&htim8, &sConfigOC, TIM_CHANNEL_3) != HAL_OK)
  {
    Error_Handler();
  }
  if (HAL_TIM_PWM_ConfigChannel(&htim8, &sConfigOC, TIM_CHANNEL_4) != HAL_OK)
  {
    Error_Handler();
  }
  sBreakDeadTimeConfig.OffStateRunMode = TIM_OSSR_DISABLE;
  sBreakDeadTimeConfig.OffStateIDLEMode = TIM_OSSI_DISABLE;
  sBreakDeadTimeConfig.LockLevel = TIM_LOCKLEVEL_OFF;
  sBreakDeadTimeConfig.DeadTime = 0;
  sBreakDeadTimeConfig.BreakState = TIM_BREAK_DISABLE;
  sBreakDeadTimeConfig.BreakPolarity = TIM_BREAKPOLARITY_HIGH;
  sBreakDeadTimeConfig.BreakFilter = 0;
  sBreakDeadTimeConfig.Break2State = TIM_BREAK2_DISABLE;
  sBreakDeadTimeConfig.Break2Polarity = TIM_BREAK2POLARITY_HIGH;
  sBreakDeadTimeConfig.Break2Filter = 0;
  sBreakDeadTimeConfig.AutomaticOutput = TIM_AUTOMATICOUTPUT_DISABLE;
  if (HAL_TIMEx_ConfigBreakDeadTime(&htim8, &sBreakDeadTimeConfig) != HAL_OK)
  {
    Error_Handler();
  }
  HAL_TIM_MspPostInit(&htim8);

}

static void MX_UART7_Init(void)
{

  huart7.Instance = UART7;
  huart7.Init.BaudRate = 115200;
  huart7.Init.WordLength = UART_WORDLENGTH_8B;
  huart7.Init.StopBits = UART_STOPBITS_1;
  huart7.Init.Parity = UART_PARITY_NONE;
  huart7.Init.Mode = UART_MODE_TX_RX;
  huart7.Init.HwFlowCtl = UART_HWCONTROL_NONE;
  huart7.Init.OverSampling = UART_OVERSAMPLING_16;
  huart7.Init.OneBitSampling = UART_ONE_BIT_SAMPLE_DISABLE;
  huart7.AdvancedInit.AdvFeatureInit = UART_ADVFEATURE_NO_INIT;
  if (HAL_UART_Init(&huart7) != HAL_OK)
  {
    Error_Handler();
  }

}

static void MX_UART8_Init(void)
{

  huart8.Instance = UART8;
  huart8.Init.BaudRate = 115200;
  huart8.Init.WordLength = UART_WORDLENGTH_8B;
  huart8.Init.StopBits = UART_STOPBITS_1;
  huart8.Init.Parity = UART_PARITY_NONE;
  huart8.Init.Mode = UART_MODE_TX_RX;
  huart8.Init.HwFlowCtl = UART_HWCONTROL_NONE;
  huart8.Init.OverSampling = UART_OVERSAMPLING_16;
  huart8.Init.OneBitSampling = UART_ONE_BIT_SAMPLE_DISABLE;
  huart8.AdvancedInit.AdvFeatureInit = UART_ADVFEATURE_NO_INIT;
  if (HAL_UART_Init(&huart8) != HAL_OK)
  {
    Error_Handler();
  }

}

static void MX_USART2_UART_Init(void)
{

  huart2.Instance = USART2;
  huart2.Init.BaudRate = 115200;
  huart2.Init.WordLength = UART_WORDLENGTH_8B;
  huart2.Init.StopBits = UART_STOPBITS_1;
  huart2.Init.Parity = UART_PARITY_NONE;
  huart2.Init.Mode = UART_MODE_TX_RX;
  huart2.Init.HwFlowCtl = UART_HWCONTROL_NONE;
  huart2.Init.OverSampling = UART_OVERSAMPLING_16;
  huart2.Init.OneBitSampling = UART_ONE_BIT_SAMPLE_DISABLE;
  huart2.AdvancedInit.AdvFeatureInit = UART_ADVFEATURE_NO_INIT;
  if (HAL_UART_Init(&huart2) != HAL_OK)
  {
    Error_Handler();
  }

}

static void MX_USART3_UART_Init(void)
{

  huart3.Instance = USART3;
  huart3.Init.BaudRate = 115200;
  huart3.Init.WordLength = UART_WORDLENGTH_8B;
  huart3.Init.StopBits = UART_STOPBITS_1;
  huart3.Init.Parity = UART_PARITY_NONE;
  huart3.Init.Mode = UART_MODE_TX_RX;
  huart3.Init.HwFlowCtl = UART_HWCONTROL_NONE;
  huart3.Init.OverSampling = UART_OVERSAMPLING_16;
  huart3.Init.OneBitSampling = UART_ONE_BIT_SAMPLE_DISABLE;
  huart3.AdvancedInit.AdvFeatureInit = UART_ADVFEATURE_NO_INIT;
  if (HAL_UART_Init(&huart3) != HAL_OK)
  {
    Error_Handler();
  }

}

static void MX_USART6_UART_Init(void)
{

  huart6.Instance = USART6;
  huart6.Init.BaudRate = 115200;
  huart6.Init.WordLength = UART_WORDLENGTH_8B;
  huart6.Init.StopBits = UART_STOPBITS_1;
  huart6.Init.Parity = UART_PARITY_NONE;
  huart6.Init.Mode = UART_MODE_TX_RX;
  huart6.Init.HwFlowCtl = UART_HWCONTROL_NONE;
  huart6.Init.OverSampling = UART_OVERSAMPLING_16;
  huart6.Init.OneBitSampling = UART_ONE_BIT_SAMPLE_DISABLE;
  huart6.AdvancedInit.AdvFeatureInit = UART_ADVFEATURE_NO_INIT;
  if (HAL_UART_Init(&huart6) != HAL_OK)
  {
    Error_Handler();
  }

}

static void MX_DMA_Init(void)
{

  /* DMA controller clock enable */
  __HAL_RCC_DMA2_CLK_ENABLE();

  /* DMA interrupt init */
  /* DMA2_Stream0_IRQn interrupt configuration */
  HAL_NVIC_SetPriority(DMA2_Stream0_IRQn, 0, 0);
  HAL_NVIC_EnableIRQ(DMA2_Stream0_IRQn);
  /* DMA2_Stream2_IRQn interrupt configuration */
  HAL_NVIC_SetPriority(DMA2_Stream2_IRQn, 0, 0);
  HAL_NVIC_EnableIRQ(DMA2_Stream2_IRQn);

}

static void MX_GPIO_Init(void)
{
  GPIO_InitTypeDef GPIO_InitStruct = {0};

  /* GPIO Ports Clock Enable */
  __HAL_RCC_GPIOE_CLK_ENABLE();
  __HAL_RCC_GPIOF_CLK_ENABLE();
  __HAL_RCC_GPIOH_CLK_ENABLE();
  __HAL_RCC_GPIOA_CLK_ENABLE();
  __HAL_RCC_GPIOC_CLK_ENABLE();
  __HAL_RCC_GPIOB_CLK_ENABLE();
  __HAL_RCC_GPIOG_CLK_ENABLE();
  __HAL_RCC_GPIOD_CLK_ENABLE();

  /*Configure GPIO pin Output Level */
  HAL_GPIO_WritePin(GPIOE, USER_LED_D8_Pin|USER_LED_D7_Pin|USER_LED_D6_Pin|USER_LED_D4_Pin
                          |USER_LED_D2_Pin|R_AS_ENC_Pin, GPIO_PIN_RESET);

  /*Configure GPIO pin Output Level */
  HAL_GPIO_WritePin(GPIOF, L_BBW_ENC_Pin|R_BBW_ENC_Pin|R_LC_ENC_Pin, GPIO_PIN_RESET);

  /*Configure GPIO pin Output Level */
  HAL_GPIO_WritePin(GPIOA, L_LC_ENC_Pin|ENC_CLK_Pin, GPIO_PIN_RESET);

  /*Configure GPIO pin Output Level */
  HAL_GPIO_WritePin(GPIOG, L_AS_ENC_Pin|R_AS_DRV_SLP_Pin|L_AS_DRV_SLP_Pin|FAULT_LED_Pin
                          |MANUAL_LED_Pin, GPIO_PIN_RESET);

  /*Configure GPIO pin Output Level */
  HAL_GPIO_WritePin(GPIOD, TEST_Pin|R_UNO_CAN_TB_Pin, GPIO_PIN_RESET);

  /*Configure GPIO pin Output Level */
  HAL_GPIO_WritePin(GPIOB, L_UNO_CAN_STB_Pin|AUTO_LED_Pin, GPIO_PIN_RESET);

  /*Configure GPIO pins : USER_LED_D8_Pin USER_LED_D7_Pin USER_LED_D6_Pin USER_LED_D4_Pin
                           USER_LED_D2_Pin R_AS_ENC_Pin */
  GPIO_InitStruct.Pin = USER_LED_D8_Pin|USER_LED_D7_Pin|USER_LED_D6_Pin|USER_LED_D4_Pin
                          |USER_LED_D2_Pin|R_AS_ENC_Pin;
  GPIO_InitStruct.Mode = GPIO_MODE_OUTPUT_PP;
  GPIO_InitStruct.Pull = GPIO_NOPULL;
  GPIO_InitStruct.Speed = GPIO_SPEED_FREQ_LOW;
  HAL_GPIO_Init(GPIOE, &GPIO_InitStruct);

  /*Configure GPIO pins : L_BBW_ENC_Pin R_BBW_ENC_Pin R_LC_ENC_Pin */
  GPIO_InitStruct.Pin = L_BBW_ENC_Pin|R_BBW_ENC_Pin|R_LC_ENC_Pin;
  GPIO_InitStruct.Mode = GPIO_MODE_OUTPUT_PP;
  GPIO_InitStruct.Pull = GPIO_NOPULL;
  GPIO_InitStruct.Speed = GPIO_SPEED_FREQ_LOW;
  HAL_GPIO_Init(GPIOF, &GPIO_InitStruct);

  /*Configure GPIO pins : L_LC_ENC_Pin ENC_CLK_Pin */
  GPIO_InitStruct.Pin = L_LC_ENC_Pin|ENC_CLK_Pin;
  GPIO_InitStruct.Mode = GPIO_MODE_OUTPUT_PP;
  GPIO_InitStruct.Pull = GPIO_NOPULL;
  GPIO_InitStruct.Speed = GPIO_SPEED_FREQ_LOW;
  HAL_GPIO_Init(GPIOA, &GPIO_InitStruct);

  /*Configure GPIO pin : ENC_DATA_Pin */
  GPIO_InitStruct.Pin = ENC_DATA_Pin;
  GPIO_InitStruct.Mode = GPIO_MODE_INPUT;
  GPIO_InitStruct.Pull = GPIO_NOPULL;
  HAL_GPIO_Init(ENC_DATA_GPIO_Port, &GPIO_InitStruct);

  /*Configure GPIO pins : L_AS_ENC_Pin R_AS_DRV_SLP_Pin L_AS_DRV_SLP_Pin FAULT_LED_Pin
                           MANUAL_LED_Pin */
  GPIO_InitStruct.Pin = L_AS_ENC_Pin|R_AS_DRV_SLP_Pin|L_AS_DRV_SLP_Pin|FAULT_LED_Pin
                          |MANUAL_LED_Pin;
  GPIO_InitStruct.Mode = GPIO_MODE_OUTPUT_PP;
  GPIO_InitStruct.Pull = GPIO_NOPULL;
  GPIO_InitStruct.Speed = GPIO_SPEED_FREQ_LOW;
  HAL_GPIO_Init(GPIOG, &GPIO_InitStruct);

  /*Configure GPIO pins : JOYSTICK_UP_Pin JOYSTICK_DWN_Pin JOYSTICK_LFT_Pin JOYSTICK_RHT_Pin
                           JOYSTICK_MID_Pin */
  GPIO_InitStruct.Pin = JOYSTICK_UP_Pin|JOYSTICK_DWN_Pin|JOYSTICK_LFT_Pin|JOYSTICK_RHT_Pin
                          |JOYSTICK_MID_Pin;
  GPIO_InitStruct.Mode = GPIO_MODE_INPUT;
  GPIO_InitStruct.Pull = GPIO_NOPULL;
  HAL_GPIO_Init(GPIOD, &GPIO_InitStruct);

  /*Configure GPIO pins : TEST_Pin R_UNO_CAN_TB_Pin */
  GPIO_InitStruct.Pin = TEST_Pin|R_UNO_CAN_TB_Pin;
  GPIO_InitStruct.Mode = GPIO_MODE_OUTPUT_PP;
  GPIO_InitStruct.Pull = GPIO_NOPULL;
  GPIO_InitStruct.Speed = GPIO_SPEED_FREQ_LOW;
  HAL_GPIO_Init(GPIOD, &GPIO_InitStruct);

  /*Configure GPIO pins : R_AS_DRV_FLT_Pin L_AS_DRV_FLT_Pin */
  GPIO_InitStruct.Pin = R_AS_DRV_FLT_Pin|L_AS_DRV_FLT_Pin;
  GPIO_InitStruct.Mode = GPIO_MODE_INPUT;
  GPIO_InitStruct.Pull = GPIO_NOPULL;
  HAL_GPIO_Init(GPIOG, &GPIO_InitStruct);

  /*Configure GPIO pins : L_UNO_CAN_STB_Pin AUTO_LED_Pin */
  GPIO_InitStruct.Pin = L_UNO_CAN_STB_Pin|AUTO_LED_Pin;
  GPIO_InitStruct.Mode = GPIO_MODE_OUTPUT_PP;
  GPIO_InitStruct.Pull = GPIO_NOPULL;
  GPIO_InitStruct.Speed = GPIO_SPEED_FREQ_LOW;
  HAL_GPIO_Init(GPIOB, &GPIO_InitStruct);

}

 /* MPU Configuration */

void MPU_Config(void)
{
  MPU_Region_InitTypeDef MPU_InitStruct = {0};

  /* Disables the MPU */
  HAL_MPU_Disable();

  /** Initializes and configures the Region and the memory to be protected
  */
  MPU_InitStruct.Enable = MPU_REGION_ENABLE;
  MPU_InitStruct.Number = MPU_REGION_NUMBER0;
  MPU_InitStruct.BaseAddress = 0x0;
  MPU_InitStruct.Size = MPU_REGION_SIZE_4GB;
  MPU_InitStruct.SubRegionDisable = 0x87;
  MPU_InitStruct.TypeExtField = MPU_TEX_LEVEL0;
  MPU_InitStruct.AccessPermission = MPU_REGION_NO_ACCESS;
  MPU_InitStruct.DisableExec = MPU_INSTRUCTION_ACCESS_DISABLE;
  MPU_InitStruct.IsShareable = MPU_ACCESS_SHAREABLE;
  MPU_InitStruct.IsCacheable = MPU_ACCESS_NOT_CACHEABLE;
  MPU_InitStruct.IsBufferable = MPU_ACCESS_NOT_BUFFERABLE;

  HAL_MPU_ConfigRegion(&MPU_InitStruct);
  /* Enables the MPU */
  HAL_MPU_Enable(MPU_PRIVILEGED_DEFAULT);

}

void Error_Handler(void)
{
  __disable_irq();
  while (1)
  {
  }
}
